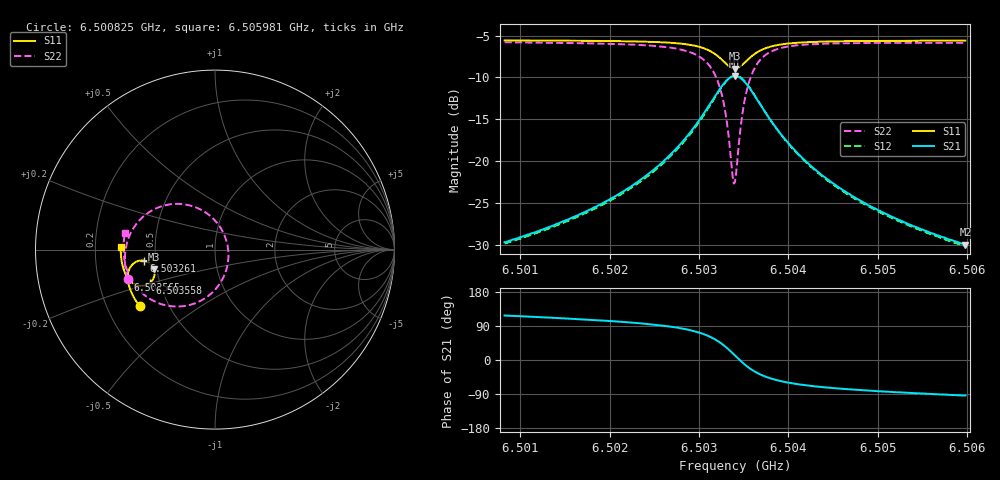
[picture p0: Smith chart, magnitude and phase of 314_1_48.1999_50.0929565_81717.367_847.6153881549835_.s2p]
#  HZ  S  RI  R  50.00
! Rohde & Schwarz Vector Network Analyzer
! Rohde-Schwarz,ZNB20-2Port,1311601062101988,3.16
! Created: UTC 3/20/2024, 11:50:06 AM
! freq[Hz]  re:S11  im:S11  re:S21  im:S21  re:S12  im:S12  re:S22  im:S22
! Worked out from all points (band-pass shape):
!   401 points, 6.500825 GHz to 6.505981 GHz, reference 50 ohm
!   highest |S21| = -9.82 dB at 6.503403 GHz (marker M1); lowest = -30.0 dB at 6.505981 GHz (marker M2)
!   |S21| within 3 dB of the highest: 6.503144 GHz to 6.50366 GHz (516 kHz wide, 0.00793 % of centre)
!   lowest |S11| = -9.0 dB at 6.503403 GHz (marker M3), VSWR 2.11, Z = 24.2 - j6.08 ohm
!   |S11| at or under -10 dB: nowhere
!   |S22| runs from -22.7 to -5.8 dB; largest |S21 - S12| = 0.011
!   S11 on the Smith chart (normalised r, x): 6.500825 GHz: 0.34, -0.30; 6.502565 GHz: 0.33, -0.15; 6.503261 GHz: 0.43, -0.06; 6.503558 GHz: 0.44, -0.20; 6.505981 GHz: 0.31, +0.01
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6.5008248e9  -0.4205 -0.3169  -0.015 0.0291  -0.0134 0.0292  -0.4862 -0.1653
6.5016885e9  -0.4585 -0.2542  -0.0145 0.0465  -0.0121 0.0461  -0.5014 -0.0755
6.5021526e9  -0.4753 -0.2137  -0.012 0.0647  -0.009 0.0637  -0.4996 -0.0116
6.5025522e9  -0.4854 -0.1707  -0.00309 0.0942  0.000517 0.0922  -0.4811 0.0655
6.5025651e9  -0.4856 -0.1693  -0.00263 0.0957  0.00102 0.0934  -0.48 0.0685
6.5028229e9  -0.4846 -0.1318  0.0172 0.1308  0.0209 0.127  -0.4387 0.1423
6.5029905e9  -0.4736 -0.1008  0.05 0.1643  0.0532 0.159  -0.3741 0.2037
6.5031581e9  -0.4392 -0.068  0.1268 0.1973  0.1281 0.1911  -0.233 0.2541
6.5032612e9  -0.397 -0.061  0.2112 0.1885  0.2116 0.1831  -0.0861 0.2263
6.5033128e9  -0.3719 -0.0696  0.259 0.1608  0.2598 0.1561  -0.00688 0.1693
6.5033772e9  -0.3456 -0.0956  0.3058 0.0979  0.3084 0.0929  0.0635 0.0488
6.503403e9  -0.3395 -0.1098  0.3161 0.0662  0.319 0.0604  0.0743 -0.0102
6.5034159e9  -0.3375 -0.1175  0.3185 0.05  0.3217 0.0435  0.0749 -0.0402
6.5034933e9  -0.3436 -0.1616  0.3018 -0.0431  0.3036 -0.0529  0.0177 -0.2025
6.5035577e9  -0.3644 -0.1868  0.2598 -0.0963  0.2585 -0.1072  -0.077 -0.2836
6.5036608e9  -0.4032 -0.2016  0.1865 -0.1318  0.1814 -0.141  -0.2238 -0.3171
6.5038284e9  -0.4485 -0.1918  0.1065 -0.129  0.0997 -0.134  -0.368 -0.2713
6.5040089e9  -0.4756 -0.1704  0.0629 -0.1095  0.0568 -0.1117  -0.4389 -0.2077
6.5042667e9  -0.4961 -0.1406  0.0334 -0.0857  0.0287 -0.0862  -0.4816 -0.1364
6.5046793e9  -0.5124 -0.0982  0.014 -0.0621  0.0108 -0.0615  -0.5044 -0.0579
6.5051304e9  -0.5212 -0.057  0.00484 -0.0469  0.0027 -0.0463  -0.5098 0.00376
6.5059813e9  -0.5257 0.0146  -0.00205 -0.0315  -0.0034 -0.0308  -0.5015 0.0922
